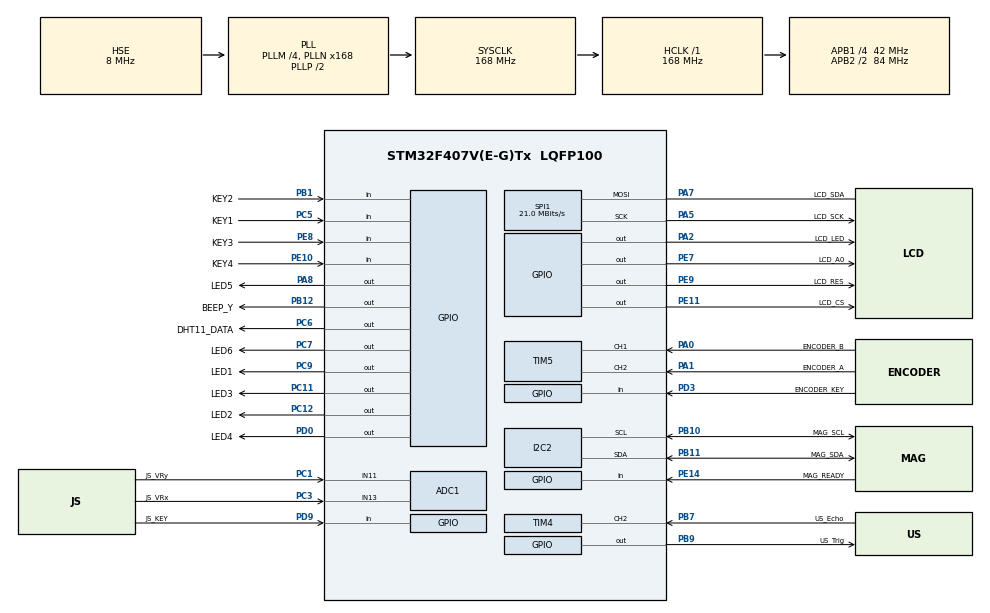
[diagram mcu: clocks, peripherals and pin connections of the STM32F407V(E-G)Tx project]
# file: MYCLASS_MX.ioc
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ADC1.Channel-0\#ChannelRegularConversion=ADC_CHANNEL_11
ADC1.Channel-1\#ChannelRegularConversion=ADC_CHANNEL_13
ADC1.ContinuousConvMode=ENABLE
ADC1.DMAContinuousRequests=ENABLE
ADC1.NbrOfConversion=2
ADC1.NbrOfConversionFlag=1
ADC1.Rank-0\#ChannelRegularConversion=1
ADC1.Rank-1\#ChannelRegularConversion=2
ADC1.SamplingTime-0\#ChannelRegularConversion=ADC_SAMPLETIME_84CYCLES
ADC1.SamplingTime-1\#ChannelRegularConversion=ADC_SAMPLETIME_84CYCLES
ADC1.ScanConvMode=ENABLE
ADC1.master=1
Dma.ADC1.0.Direction=DMA_PERIPH_TO_MEMORY
Dma.ADC1.0.FIFOMode=DMA_FIFOMODE_DISABLE
Dma.ADC1.0.Instance=DMA2_Stream0
Dma.ADC1.0.MemDataAlignment=DMA_MDATAALIGN_HALFWORD
Dma.ADC1.0.MemInc=DMA_MINC_ENABLE
Dma.ADC1.0.Mode=DMA_CIRCULAR
Dma.ADC1.0.PeriphDataAlignment=DMA_PDATAALIGN_HALFWORD
Dma.ADC1.0.PeriphInc=DMA_PINC_DISABLE
Dma.ADC1.0.Priority=DMA_PRIORITY_LOW
Dma.Request0=ADC1
Dma.Request1=SPI1_TX
Dma.SPI1_TX.1.Direction=DMA_MEMORY_TO_PERIPH
Dma.SPI1_TX.1.FIFOMode=DMA_FIFOMODE_DISABLE
Dma.SPI1_TX.1.Instance=DMA2_Stream3
Dma.SPI1_TX.1.MemDataAlignment=DMA_MDATAALIGN_BYTE
Dma.SPI1_TX.1.MemInc=DMA_MINC_ENABLE
Dma.SPI1_TX.1.Mode=DMA_NORMAL
Dma.SPI1_TX.1.PeriphDataAlignment=DMA_PDATAALIGN_BYTE
Dma.SPI1_TX.1.PeriphInc=DMA_PINC_DISABLE
Dma.SPI1_TX.1.Priority=DMA_PRIORITY_HIGH
FREERTOS.Tasks01=defaultTask,24,128,StartDefaultTask,Default,NULL,Dynamic,NULL,NULL;LVGL,31,1024,LVGL_TASK,Default,NULL,Dynamic,NULL,NULL;sensor,8,256,sensor_task,Default,NULL,Dynamic,NULL,NULL;notify,9,128,notify_task,Default,NULL,Dynamic,NULL,NULL
FREERTOS.configTOTAL_HEAP_SIZE=32768
Mcu.Family=STM32F4
Mcu.Name=STM32F407V(E-G)Tx
Mcu.Package=LQFP100
NVIC.DMA2_Stream0_IRQn=true\:5\:0\:false\:false\:true\:true\:false\:true\:true
NVIC.DMA2_Stream3_IRQn=true\:5\:0\:false\:false\:true\:true\:false\:true\:true
NVIC.PriorityGroup=NVIC_PRIORITYGROUP_4
NVIC.TIM4_IRQn=true\:5\:0\:false\:false\:true\:true\:true\:true\:true
PA0-WKUP.GPIO_Label=ENCODER_B
PA0-WKUP.GPIO_PuPd=GPIO_PULLUP
PA0-WKUP.Signal=S_TIM5_CH1
PA1.GPIO_Label=ENCODER_A
PA1.GPIO_PuPd=GPIO_PULLUP
PA1.Signal=S_TIM5_CH2
PA13.Mode=Serial_Wire
PA13.Signal=SYS_JTMS-SWDIO
PA14.Mode=Serial_Wire
PA14.Signal=SYS_JTCK-SWCLK
PA2.GPIO_Label=LCD_LED
PA2.Signal=GPIO_Output
PA5.GPIO_Label=LCD_SCK
PA5.Mode=Simplex_Bidirectional_Master
PA5.Signal=SPI1_SCK
PA7.GPIO_Label=LCD_SDA
PA7.Mode=Simplex_Bidirectional_Master
PA7.Signal=SPI1_MOSI
PA8.GPIO_Label=LED5
PA8.Signal=GPIO_Output
PB1.GPIO_Label=KEY2
PB1.GPIO_PuPd=GPIO_PULLUP
PB1.Signal=GPIO_Input
PB10.GPIO_Label=MAG_SCL
PB10.Mode=I2C
PB10.Signal=I2C2_SCL
PB11.GPIO_Label=MAG_SDA
PB11.Mode=I2C
PB11.Signal=I2C2_SDA
PB12.GPIO_Label=BEEP_Y
PB12.Signal=GPIO_Output
PB7.GPIO_Label=US_Echo
PB7.Signal=S_TIM4_CH2
PB9.GPIO_Label=US_Trig
PB9.Signal=GPIO_Output
PC1.GPIO_Label=JS_VRy
PC1.Signal=ADCx_IN11
PC11.GPIO_Label=LED3
PC11.Signal=GPIO_Output
PC12.GPIO_Label=LED2
PC12.Signal=GPIO_Output
PC3.GPIO_Label=JS_VRx
PC3.Signal=ADCx_IN13
PC5.GPIO_Label=KEY1
PC5.GPIO_PuPd=GPIO_PULLUP
PC5.Signal=GPIO_Input
PC6.GPIO_Label=DHT11_DATA
PC6.GPIO_ModeDefaultOutputPP=GPIO_MODE_OUTPUT_OD
PC6.GPIO_PuPd=GPIO_PULLUP
PC6.Signal=GPIO_Output
PC7.GPIO_Label=LED6
PC7.Signal=GPIO_Output
PC9.GPIO_Label=LED1
PC9.Signal=GPIO_Output
PD0.GPIO_Label=LED4
PD0.Signal=GPIO_Output
PD3.GPIO_Label=ENCODER_KEY
PD3.GPIO_PuPd=GPIO_PULLUP
PD3.Signal=GPIO_Input
PD9.GPIO_Label=JS_KEY
PD9.GPIO_PuPd=GPIO_PULLUP
PD9.Signal=GPIO_Input
PE10.GPIO_Label=KEY4
PE10.GPIO_PuPd=GPIO_PULLUP
PE10.Signal=GPIO_Input
PE11.GPIO_Label=LCD_CS
PE11.Signal=GPIO_Output
PE14.GPIO_Label=MAG_READY
PE14.Signal=GPIO_Input
PE7.GPIO_Label=LCD_A0
PE7.Signal=GPIO_Output
PE8.GPIO_Label=KEY3
PE8.GPIO_PuPd=GPIO_PULLUP
PE8.Signal=GPIO_Input
PE9.GPIO_Label=LCD_RES
PE9.Signal=GPIO_Output
PH0-OSC_IN.Mode=HSE-External-Oscillator
PH0-OSC_IN.Signal=RCC_OSC_IN
PH1-OSC_OUT.Mode=HSE-External-Oscillator
PH1-OSC_OUT.Signal=RCC_OSC_OUT
ProjectManager.HeapSize=0x200
ProjectManager.StackSize=0x400
ProjectManager.TargetToolchain=MDK-ARM V5.32
RCC.48MHZClocksFreq_Value=84000000
RCC.AHBFreq_Value=168000000
RCC.APB1CLKDivider=RCC_HCLK_DIV4
RCC.APB1Freq_Value=42000000
RCC.APB1TimFreq_Value=84000000
RCC.APB2CLKDivider=RCC_HCLK_DIV2
RCC.APB2Freq_Value=84000000
RCC.APB2TimFreq_Value=168000000
RCC.CortexFreq_Value=168000000
RCC.HCLKFreq_Value=168000000
RCC.HSE_VALUE=8000000
RCC.HSI_VALUE=16000000
RCC.LSE_VALUE=32768
RCC.PLLM=4
RCC.PLLN=168
RCC.PLLSourceVirtual=RCC_PLLSOURCE_HSE
RCC.SYSCLKFreq_VALUE=168000000
RCC.SYSCLKSource=RCC_SYSCLKSOURCE_PLLCLK
RCC.VCOOutputFreq_Value=336000000
SH.ADCx_IN11.0=ADC1_IN11,IN11
SH.ADCx_IN13.0=ADC1_IN13,IN13
SH.S_TIM4_CH2.0=TIM4_CH2,Input_Capture2_from_TI2
SH.S_TIM5_CH1.0=TIM5_CH1,Encoder_Interface
SH.S_TIM5_CH2.0=TIM5_CH2,Encoder_Interface
SPI1.BaudRatePrescaler=SPI_BAUDRATEPRESCALER_4
SPI1.CalculateBaudRate=21.0 MBits/s
SPI1.Direction=SPI_DIRECTION_1LINE
SPI1.Mode=SPI_MODE_MASTER
SPI1.VirtualType=VM_MASTER
TIM4.Channel-Input_Capture2_from_TI2=TIM_CHANNEL_2
TIM4.ICFilter_CH2=8
TIM4.Prescaler=83
TIM5.EncoderMode=TIM_ENCODERMODE_TI12
TIM5.IC1Filter=8
TIM5.IC2Filter=8
VP_FREERTOS_VS_CMSIS_V2.Mode=CMSIS_V2
board=custom

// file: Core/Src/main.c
/* USER CODE BEGIN Header */
/**
  ******************************************************************************
  * @file           : main.c
  * @brief          : Main program body
  ******************************************************************************
  * @attention
  *
  * Copyright (c) 2026 STMicroelectronics.
  * All rights reserved.
  *
  * This software is licensed under terms that can be found in the LICENSE file
  * in the root directory of this software component.
  * If no LICENSE file comes with this software, it is provided AS-IS.
  *
  ******************************************************************************
  */
/* USER CODE END Header */
#include "main.h"
#include "cmsis_os.h"
#include "adc.h"
#include "dma.h"
#include "i2c.h"
#include "spi.h"
#include "tim.h"
#include "gpio.h"

/* USER CODE BEGIN Includes */
#include "gc9a01.h"
#include "joystick.h"
#include "led.h"
#include "hcsr04.h"
#include "beep.h"
#include "dht11.h"
#include "encoder.h"
#include "hmc5883l.h"
#include "joystick_lcd_demo.h"
/* USER CODE END Includes */

void SystemClock_Config(void);
void MX_FREERTOS_Init(void);

/* USER CODE BEGIN 0 */
volatile int hcsr_state=-1;

/* USER CODE END 0 */

int main(void)
{

  /* MCU Configuration--------------------------------------------------------*/

  /* Reset of all peripherals, Initializes the Flash interface and the Systick. */
  HAL_Init();

  /* Configure the system clock */
  SystemClock_Config();

  /* Initialize all configured peripherals */
  MX_GPIO_Init();
  MX_DMA_Init();
  MX_ADC1_Init();
  MX_SPI1_Init();
  MX_TIM4_Init();
  MX_TIM5_Init();
  MX_I2C2_Init();
  /* USER CODE BEGIN 2 */
gc9a01_init();
joy_init();
led_init();
hcsr04_init();
dht11_init();
encoder_init();
hmc5883l_init();

  /* USER CODE END 2 */

  /* Init scheduler */
  osKernelInitialize();  /* Call init function for freertos objects (in cmsis_os2.c) */
  MX_FREERTOS_Init();

  /* Start scheduler */
  osKernelStart();

  /* We should never get here as control is now taken by the scheduler */

  /* Infinite loop */
  while (1)
  {

  }
}

void SystemClock_Config(void)
{
  RCC_OscInitTypeDef RCC_OscInitStruct = {0};
  RCC_ClkInitTypeDef RCC_ClkInitStruct = {0};

  /** Configure the main internal regulator output voltage
  */
  __HAL_RCC_PWR_CLK_ENABLE();
  __HAL_PWR_VOLTAGESCALING_CONFIG(PWR_REGULATOR_VOLTAGE_SCALE1);

  /** Initializes the RCC Oscillators according to the specified parameters
  * in the RCC_OscInitTypeDef structure.
  */
  RCC_OscInitStruct.OscillatorType = RCC_OSCILLATORTYPE_HSE;
  RCC_OscInitStruct.HSEState = RCC_HSE_ON;
  RCC_OscInitStruct.PLL.PLLState = RCC_PLL_ON;
  RCC_OscInitStruct.PLL.PLLSource = RCC_PLLSOURCE_HSE;
  RCC_OscInitStruct.PLL.PLLM = 4;
  RCC_OscInitStruct.PLL.PLLN = 168;
  RCC_OscInitStruct.PLL.PLLP = RCC_PLLP_DIV2;
  RCC_OscInitStruct.PLL.PLLQ = 4;
  if (HAL_RCC_OscConfig(&RCC_OscInitStruct) != HAL_OK)
  {
    Error_Handler();
  }

  /** Initializes the CPU, AHB and APB buses clocks
  */
  RCC_ClkInitStruct.ClockType = RCC_CLOCKTYPE_HCLK|RCC_CLOCKTYPE_SYSCLK
                              |RCC_CLOCKTYPE_PCLK1|RCC_CLOCKTYPE_PCLK2;
  RCC_ClkInitStruct.SYSCLKSource = RCC_SYSCLKSOURCE_PLLCLK;
  RCC_ClkInitStruct.AHBCLKDivider = RCC_SYSCLK_DIV1;
  RCC_ClkInitStruct.APB1CLKDivider = RCC_HCLK_DIV4;
  RCC_ClkInitStruct.APB2CLKDivider = RCC_HCLK_DIV2;

  if (HAL_RCC_ClockConfig(&RCC_ClkInitStruct, FLASH_LATENCY_5) != HAL_OK)
  {
    Error_Handler();
  }
}

void Error_Handler(void)
{
  __disable_irq();
  while (1)
  {
  }
}

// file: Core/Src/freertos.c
/* USER CODE BEGIN Header */
/**
  ******************************************************************************
  * File Name          : freertos.c
  * Description        : Code for freertos applications
  ******************************************************************************
  * @attention
  *
  * Copyright (c) 2026 STMicroelectronics.
  * All rights reserved.
  *
  * This software is licensed under terms that can be found in the LICENSE file
  * in the root directory of this software component.
  * If no LICENSE file comes with this software, it is provided AS-IS.
  *
  ******************************************************************************
  */
/* USER CODE END Header */

#include "FreeRTOS.h"
#include "task.h"
#include "main.h"
#include "cmsis_os.h"

/* USER CODE BEGIN Includes */
#include "lvgl.h"
#include "lv_port_disp.h"
#include "lv_port_indev.h"
#include "app_launcher.h"
#include "sys_sensor.h"
#include "sys_notify.h"
/* USER CODE END Includes */

/* Definitions for defaultTask */
osThreadId_t defaultTaskHandle;
const osThreadAttr_t defaultTask_attributes = {
  .name = "defaultTask",
  .stack_size = 128 * 4,
  .priority = (osPriority_t) osPriorityNormal,
};
/* Definitions for LVGL */
osThreadId_t LVGLHandle;
const osThreadAttr_t LVGL_attributes = {
  .name = "LVGL",
  .stack_size = 1024 * 4,
  .priority = (osPriority_t) osPriorityNormal7,
};
/* Definitions for sensor */
osThreadId_t sensorHandle;
const osThreadAttr_t sensor_attributes = {
  .name = "sensor",
  .stack_size = 256 * 4,
  .priority = (osPriority_t) osPriorityLow,
};
/* Definitions for notify */
osThreadId_t notifyHandle;
const osThreadAttr_t notify_attributes = {
  .name = "notify",
  .stack_size = 128 * 4,
  .priority = (osPriority_t) osPriorityLow1,
};

void StartDefaultTask(void *argument);
void LVGL_TASK(void *argument);
void sensor_task(void *argument);
void notify_task(void *argument);

void MX_FREERTOS_Init(void); /* (MISRA C 2004 rule 8.1) */

void MX_FREERTOS_Init(void) {

  /* Create the thread(s) */
  /* creation of defaultTask */
  defaultTaskHandle = osThreadNew(StartDefaultTask, NULL, &defaultTask_attributes);

  /* creation of LVGL */
  LVGLHandle = osThreadNew(LVGL_TASK, NULL, &LVGL_attributes);

  /* creation of sensor */
  sensorHandle = osThreadNew(sensor_task, NULL, &sensor_attributes);

  /* creation of notify */
  notifyHandle = osThreadNew(notify_task, NULL, &notify_attributes);

}

void StartDefaultTask(void *argument)
{
  for(;;)
  {
    osDelay(1);
  }
}

void LVGL_TASK(void *argument)
{
  /* USER CODE BEGIN LVGL_TASK */
  lv_init();
  lv_port_disp_init();
  lv_port_indev_init();
  app_launcher_init();

  for(;;)
  {
    lv_tick_inc(5);
    lv_timer_handler();
    osDelay(5);
  }
  /* USER CODE END LVGL_TASK */
}

void sensor_task(void *argument)
{
  /* USER CODE BEGIN sensor_task */
  /* 阻塞型传感器集中采样：结果写入 g_sensor，UI 只读 */
  for(;;)
  {
    sys_sensor_poll();
    osDelay(20);
  }
  /* USER CODE END sensor_task */
}

void notify_task(void *argument)
{
  /* USER CODE BEGIN notify_task */
  /* 声光提示服务：命令队列驱动，LED/蜂鸣器由本任务独占 */
  sys_notify_init();
  sys_notify_loop();
  /* USER CODE END notify_task */
}
